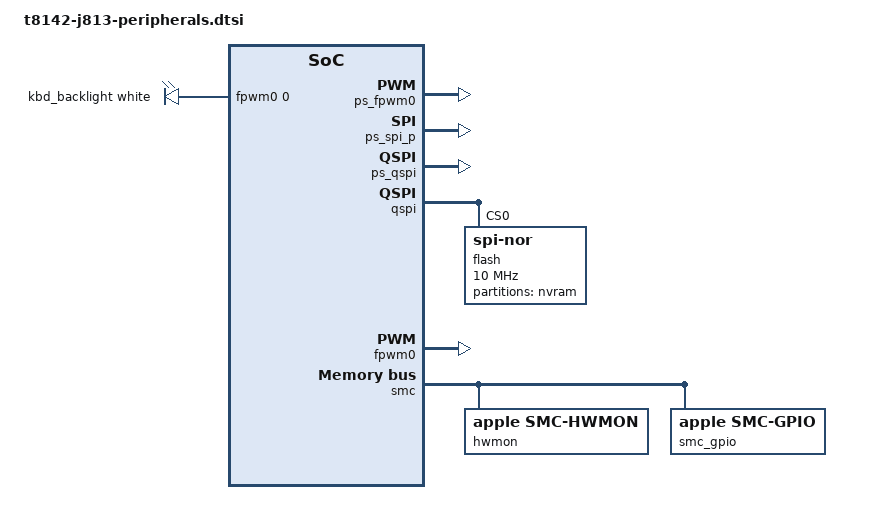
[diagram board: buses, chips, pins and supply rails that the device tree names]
// SPDX-License-Identifier: GPL-2.0+ OR MIT
#include <dt-bindings/gpio/gpio.h>
#include <dt-bindings/leds/common.h>

/ {
	aliases {
		mtp = &mtp;
		keyboard = &keyboard;
		nvram = &nvram;
	};

	/* J813 ADT /arm-io/qspi clock-ids [396]; rate as the T8140 QSPI. */
	clk_qspi: clock-qspi {
		compatible = "fixed-clock";
		#clock-cells = <0>;
		clock-frequency = <200000000>;
		clock-output-names = "clk_qspi";
	};

	led-controller {
		compatible = "pwm-leds";

		led-0 {
			pwms = <&fpwm0 0 40000>;
			label = "kbd_backlight";
			function = LED_FUNCTION_KBD_BACKLIGHT;
			color = <LED_COLOR_ID_WHITE>;
			max-brightness = <255>;
			default-state = "keep";
		};
	};
};

&{/soc} {
	pmgr: power-management@380700000 {
		compatible = "apple,t8142-pmgr", "apple,t8103-pmgr", "syscon", "simple-mfd";
		/* As on T8140: up to the ISP17a slots at +0x4000..+0x4060. */
		reg = <3 0x80700000 0 0x14000>;
		#address-cells = <1>;
		#size-cells = <1>;

		ps_fpwm0: power-controller@330 {
			compatible = "apple,t8142-pmgr-pwrstate", "apple,t8103-pmgr-pwrstate";
			reg = <0x330 4>;
			#power-domain-cells = <0>;
			#reset-cells = <0>;
			label = "fpwm0";
		};

		/* ADT pmgr devices: SPI_P id 94 (+0x390), QSPI id 120 (+0x460). */
		ps_spi_p: power-controller@390 {
			compatible = "apple,t8142-pmgr-pwrstate", "apple,t8103-pmgr-pwrstate";
			reg = <0x390 4>;
			#power-domain-cells = <0>;
			#reset-cells = <0>;
			label = "spi_p";
		};

		/* ADT pmgr devices: PMP id 159 (+0x598), PMS_SRAM id 160 (+0x5a0). */
		ps_pmp: power-controller@598 {
			compatible = "apple,t8142-pmgr-pwrstate", "apple,t8103-pmgr-pwrstate";
			reg = <0x598 4>;
			#power-domain-cells = <0>;
			#reset-cells = <0>;
			label = "pmp";
			/* The PMP's SRAM, which the driver reads first. */
			power-domains = <&ps_pms_sram>;
		};

		ps_pms_sram: power-controller@5a0 {
			compatible = "apple,t8142-pmgr-pwrstate", "apple,t8103-pmgr-pwrstate";
			reg = <0x5a0 4>;
			#power-domain-cells = <0>;
			#reset-cells = <0>;
			label = "pms_sram";
			/* T8140 holds it through its always-on PMP report node. */
			apple,always-on;
		};

		ps_qspi: power-controller@460 {
			compatible = "apple,t8142-pmgr-pwrstate", "apple,t8103-pmgr-pwrstate";
			reg = <0x460 4>;
			#power-domain-cells = <0>;
			#reset-cells = <0>;
			label = "qspi";
			power-domains = <&ps_spi_p>;
		};
	};

	/*
	 * PMP, laid out as on T8140 (ADT /arm-io/pmp, dart-pmp): it runs the
	 * DRAM controller (DCS) and fabric DVFS. Without it the memory stays at
	 * the bootloader's state (memcpy ~20 GB/s against ~120 GB/s on macOS).
	 */
	pmp_dart: iommu@380300000 {
		compatible = "apple,t8142-dart", "apple,t8110-dart";
		reg = <0x3 0x80300000 0x0 0xc000>;
		interrupt-parent = <&aic>;
		interrupts = <AIC_IRQ 1004 IRQ_TYPE_LEVEL_HIGH>;
		#iommu-cells = <1>;
		apple,dma-range = /bits/ 64 <0x10000000000 0xbff00000>;
		power-domains = <&ps_pmp>;
	};

	pmp: pmp@380500000 {
		compatible = "apple,t8142-pmp-v2", "apple,t8140-pmp-v2";
		reg = <0x3 0x80500000 0x0 0xd0000>,
		      <0x3 0x80e00000 0x0 0x4000>;
		reg-names = "pmp", "asc";
		mboxes = <&pmp_mbox>;
		mbox-names = "mbox";
		iommus = <&pmp_dart 0>;
		power-domains = <&ps_pmp>;
		/* ADT /chosen board-id, dram-vendor-id */
		apple,board-id = <36>;
		apple,dram-vendor-id = <1>;
		/* ADT /arm-io/pmgr pmc, pmc-pmgr (registry-v2 boot arguments) */
		apple,pmc = <1>;
		apple,pmc-pmgr = <31>;
	};

	pmp_mbox: mailbox@380e08000 {
		compatible = "apple,t8142-asc-mailbox", "apple,asc-mailbox-v4";
		reg = <0x3 0x80e08000 0x0 0x4000>;
		interrupt-parent = <&aic>;
		interrupts = <AIC_IRQ 1000 IRQ_TYPE_LEVEL_HIGH>,
			     <AIC_IRQ 1001 IRQ_TYPE_LEVEL_HIGH>,
			     <AIC_IRQ 1002 IRQ_TYPE_LEVEL_HIGH>,
			     <AIC_IRQ 1003 IRQ_TYPE_LEVEL_HIGH>;
		interrupt-names = "send-empty", "send-not-empty",
				  "recv-empty", "recv-not-empty";
		#mbox-cells = <0>;
		power-domains = <&ps_pmp>;
	};

	/* ADT /arm-io/qspi: 0x195118000 and its FIFO window at +0x800, IRQ 1245. */
	qspi: spi@3a5118000 {
		compatible = "apple,t8142-qspi", "apple,t8140-qspi";
		reg = <0x3 0xa5118000 0x0 0x4800>;
		clocks = <&clk_qspi>;
		interrupt-parent = <&aic>;
		interrupts = <AIC_IRQ 1245 IRQ_TYPE_LEVEL_HIGH>;
		#address-cells = <1>;
		#size-cells = <0>;
		power-domains = <&ps_qspi>;

		flash@0 {
			compatible = "jedec,spi-nor";
			reg = <0>;
			/* Conservative until the input clock is confirmed. */
			spi-max-frequency = <10000000>;

			partitions {
				compatible = "fixed-partitions";
				#address-cells = <1>;
				#size-cells = <1>;

				/* ADT spinor/anvram reg: 0x100000 bytes at 0x700000. */
				nvram: partition@700000 {
					label = "nvram";
					reg = <0x700000 0x100000>;
				};
			};
		};
	};

	fpwm0: pwm@3a5040000 {
		compatible = "apple,t8142-fpwm", "apple,s5l-fpwm";
		reg = <3 0xa5040000 0 0x4000>;
		power-domains = <&ps_fpwm0>;
		clocks = <&clkref>;
		#pwm-cells = <2>;
	};

	smc_mbox: mailbox@38c608000 {
		compatible = "apple,t8142-asc-mailbox", "apple,asc-mailbox-v4";
		reg = <3 0x8c608000 0 0x4000>;
		interrupts = <AIC_IRQ 633 IRQ_TYPE_LEVEL_HIGH>,
			     <AIC_IRQ 634 IRQ_TYPE_LEVEL_HIGH>,
			     <AIC_IRQ 635 IRQ_TYPE_LEVEL_HIGH>,
			     <AIC_IRQ 636 IRQ_TYPE_LEVEL_HIGH>;
		interrupt-names = "send-empty", "send-not-empty", "recv-empty", "recv-not-empty";
		#mbox-cells = <0>;
	};

	smc: smc@38c600000 {
		compatible = "apple,t8142-smc", "apple,t8103-smc";
		reg = <3 0x8c600000 0 0x4000>, <3 0x8de00000 0 0x120000>;
		reg-names = "smc", "sram";
		mboxes = <&smc_mbox>;

		hwmon {
			compatible = "apple,smc-hwmon";
			apple,discover-temperatures;
		};

		smc_gpio: gpio {
			compatible = "apple,smc-gpio";
			gpio-controller;
			#gpio-cells = <2>;
		};
	};

	mtp: mtp@394600000 {
		compatible = "apple,t8142-mtp", "apple,t8142-rtk-helper-asc4",
			     "apple,mtp", "apple,rtk-helper-asc4";
		/* The second region is firmware SRAM, not the ASC control window. */
		reg = <3 0x94600000 0 0x4000>, <3 0x94c00000 0 0x100000>;
		reg-names = "asc", "sram";
		mboxes = <&mtp_mbox>;
		iommus = <&mtp_dart 0>;
	};

	mtp_mbox: mailbox@394608000 {
		compatible = "apple,t8142-asc-mailbox", "apple,asc-mailbox-v4";
		reg = <3 0x94608000 0 0x4000>;
		interrupts = <AIC_IRQ 1299 IRQ_TYPE_LEVEL_HIGH>,
			     <AIC_IRQ 1300 IRQ_TYPE_LEVEL_HIGH>,
			     <AIC_IRQ 1301 IRQ_TYPE_LEVEL_HIGH>,
			     <AIC_IRQ 1302 IRQ_TYPE_LEVEL_HIGH>;
		interrupt-names = "send-empty", "send-not-empty", "recv-empty", "recv-not-empty";
		#mbox-cells = <0>;
	};

	mtp_dart: iommu@394800000 {
		compatible = "apple,t8142-dart", "apple,t8110-dart";
		reg = <3 0x94800000 0 0xc000>;
		interrupts = <AIC_IRQ 1275 IRQ_TYPE_LEVEL_HIGH>;
		#iommu-cells = <1>;
		/* Keep host allocations clear of firmware's low IOVA mappings. */
		apple,dma-range = <0 0x02000000 0 0x10000000>;
	};

	mtp_dockchannel: fifo@394b14000 {
		compatible = "apple,t8142-dockchannel", "apple,dockchannel";
		reg = <3 0x94b14000 0 0x1000>;
		reg-names = "irq";
		interrupts = <AIC_IRQ 1277 IRQ_TYPE_LEVEL_HIGH>;
		ranges = <0 3 0x94b28000 0x20000>;
		nonposted-mmio;
		#address-cells = <1>;
		#size-cells = <1>;
		interrupt-controller;
		#interrupt-cells = <2>;

		mtp_hid: input@8000 {
			compatible = "apple,dockchannel-hid";
			reg = <0x8000 0x1000>, <0xc000 0x1000>,
			      <0x0000 0x1000>, <0x4000 0x1000>;
			reg-names = "config", "data", "rmt-config", "rmt-data";
			iommus = <&mtp_dart 0>;
			interrupt-parent = <&mtp_dockchannel>;
			interrupts = <2 IRQ_TYPE_LEVEL_HIGH>, <3 IRQ_TYPE_LEVEL_HIGH>;
			interrupt-names = "tx", "rx";
			apple,fifo-size = <0x800>;
			apple,helper-cpu = <&mtp>;
			/*
			 * ADT dockchannel-mtp/mtp-transport/multi-touch:
			 * function-afe-reset = smc-pmu pKW4('gP1c'), SMC GPIO 28.
			 * The MTP firmware cannot reach the AFE on its own ("No
			 * HINT_L"): after macOS left it running the trackpad
			 * worked, after a Linux warm reboot it stayed in reset.
			 */
			apple,afe-reset-gpios = <&smc_gpio 28 GPIO_ACTIVE_LOW>;

			stm { };

			multi-touch {
				firmware-name = "apple/tpmtfw-j813.bin";
				apple,power-method = <2>;
			};

			/* Layout is filled by the loader using this machine's own data. */
			keyboard: keyboard { };
		};
	};
};
#include "t8142-j813-pmp-tunables.dtsi"
